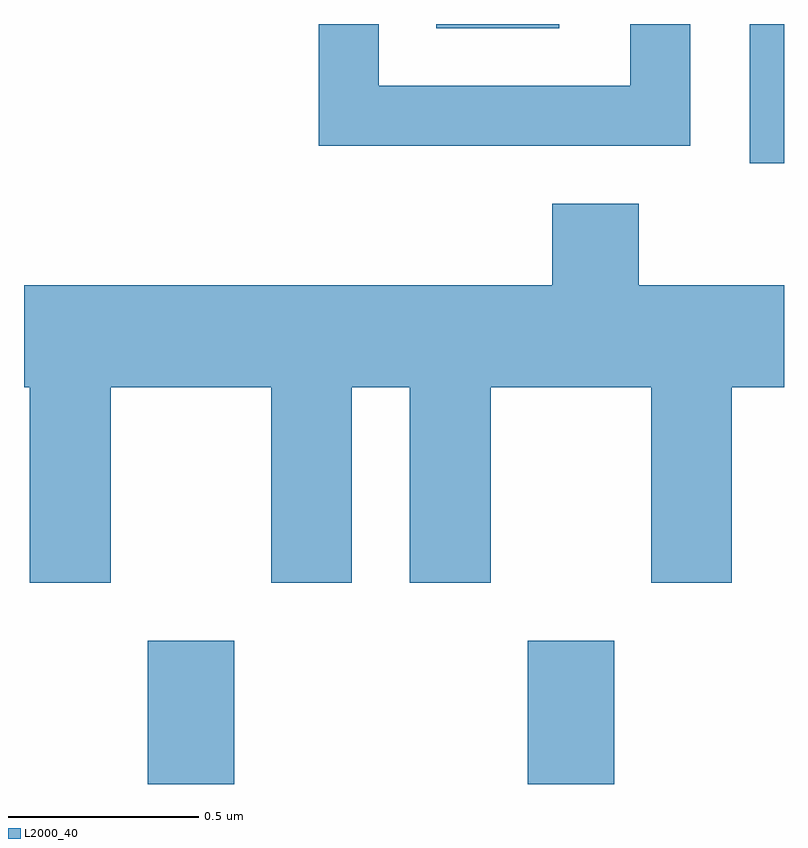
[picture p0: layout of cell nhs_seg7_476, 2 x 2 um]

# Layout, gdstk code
import gdstk
lib = gdstk.Library(unit=1e-6, precision=1e-09)
def R(c, l, rs):  # rectangles x0, y0, x1, y1
    for r in rs: c.add(gdstk.rectangle(r[:2], r[2:], *l))
def P(c, l, *ps):  # polygons
    for p in ps: c.add(gdstk.Polygon(p, *l))
L2000_40 = (2000, 40)

nhs_seg7_476 = lib.new_cell('nhs_seg7_476')
R(nhs_seg7_476, L2000_40, [(188.936,1733.252,189.164,1733.629), (189.936,1733.252,190.164,1733.629), (190.521,1734.886,190.611,1735.252), (189.696,1735.241,190.019,1735.252)])
P(nhs_seg7_476, L2000_40, [(190.364,1735.252),(190.206,1735.252),(190.206,1735.089),(189.544,1735.089),(189.544,1735.252),(189.386,1735.252),(189.386,1734.931),(190.364,1734.931)],
  [(188.839,1734.296),(189.261,1734.296),(189.261,1733.781),(189.474,1733.781),(189.474,1734.296),(189.626,1734.296),(189.626,1733.781),(189.839,1733.781),(189.839,1734.296),(190.261,1734.296),(190.261,1733.781),(190.474,1733.781),(190.474,1734.296),(190.611,1734.296),(190.611,1734.564),(190.229,1734.564),(190.229,1734.779),(190.001,1734.779),(190.001,1734.564),(188.611,1734.564),(188.611,1734.296),(188.626,1734.296),(188.626,1733.781),(188.839,1733.781)])

lib.write_gds('nhs_seg7_476.gds')
